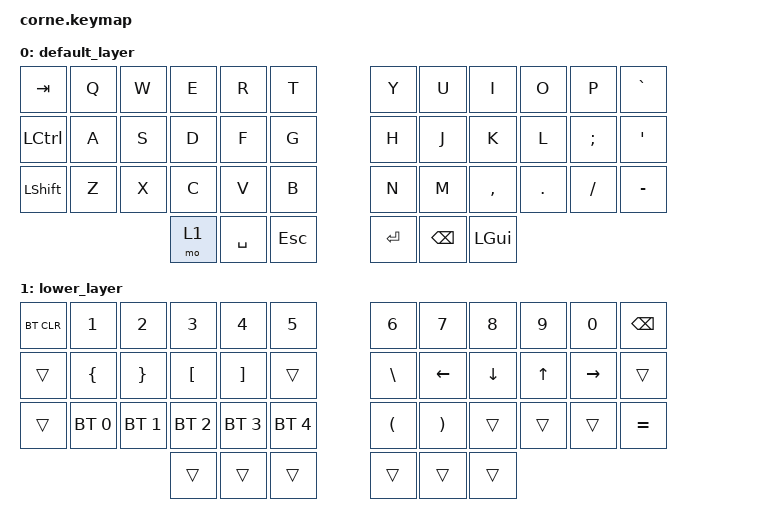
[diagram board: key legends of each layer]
/*
 * Copyright (c) 2020 The ZMK Contributors
 *
 * SPDX-License-Identifier: MIT
 */

#include <behaviors.dtsi>
#include <dt-bindings/zmk/keys.h>
#include <dt-bindings/zmk/bt.h>

/ {
        keymap {
                compatible = "zmk,keymap";

default_layer {
bindings = <

// -----------------------------------------------------------------------------------------------
   &kp TAB   &kp Q &kp W &kp E &kp R &kp T     &kp Y &kp U  &kp I     &kp O   &kp P    &kp GRAVE 
   &kp LCTRL &kp A &kp S &kp D &kp F &kp G     &kp H &kp J  &kp K     &kp L   &kp SEMI &kp SQT
   &kp LSHFT &kp Z &kp X &kp C &kp V &kp B     &kp N &kp M  &kp COMMA &kp DOT &kp FSLH &kp MINUS
                   &mo 1 &kp SPACE &kp ESC     &kp RET &kp BSPC &kp LGUI
// -----------------------------------------------------------------------------------------------

>;};

lower_layer {
bindings = <

// -------------------------------------------------------------------------------------------------------------------------------------
   &bt BT_CLR &kp N1       &kp N2       &kp N3       &kp N4       &kp N5          &kp N6   &kp N7   &kp N8   &kp N9 &kp N0    &kp BSPC
   &trans     &kp LBRC     &kp RBRC     &kp LBKT     &kp RBKT     &trans          &kp BSLH &kp LEFT &kp DOWN &kp UP &kp RIGHT &trans
   &trans     &bt BT_SEL 0 &bt BT_SEL 1 &bt BT_SEL 2 &bt BT_SEL 3 &bt BT_SEL 4    &kp LPAR &kp RPAR &trans   &trans &trans    &kp EQUAL 
                          	            &trans       &trans       &trans          &trans   &trans   &trans
// -------------------------------------------------------------------------------------------------------------------------------------

>;};

};};
